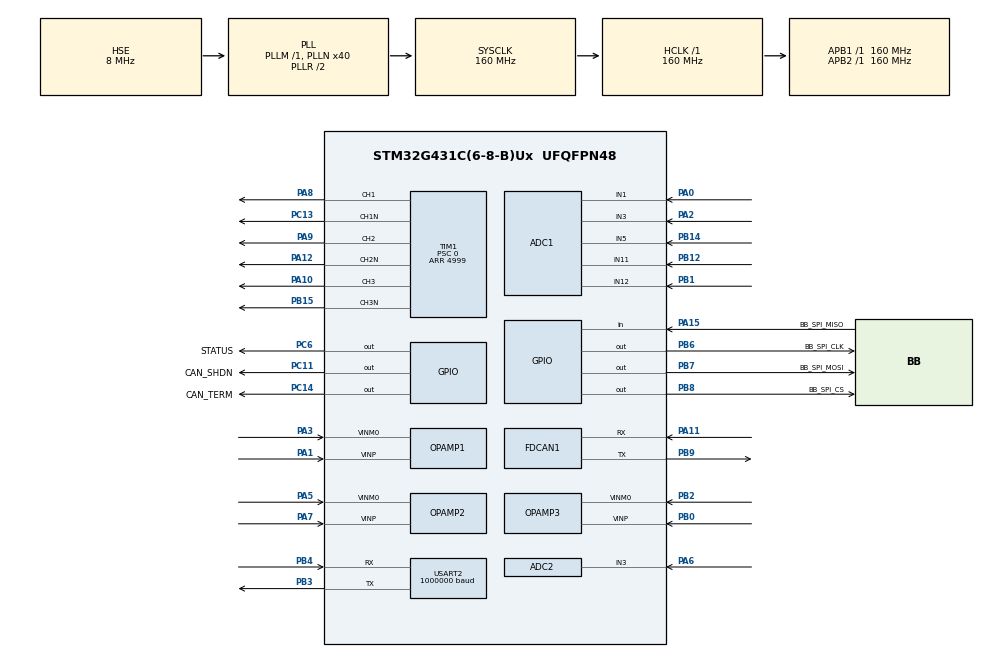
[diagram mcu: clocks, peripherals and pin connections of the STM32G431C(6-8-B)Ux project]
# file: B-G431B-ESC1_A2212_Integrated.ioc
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ADC1.Channel-0\#ChannelRegularConversion=ADC_CHANNEL_VOPAMP1
ADC1.DMAContinuousRequests=ENABLE
ADC1.EOCSelection=ADC_EOC_SEQ_CONV
ADC1.ExternalTrigConv=ADC_EXTERNALTRIG_T1_TRGO
ADC1.NbrOfConversion=1
ADC1.NbrOfConversionFlag=1
ADC1.OffsetNumber-0\#ChannelRegularConversion=ADC_OFFSET_NONE
ADC1.Overrun=ADC_OVR_DATA_OVERWRITTEN
ADC1.Rank-0\#ChannelRegularConversion=1
ADC1.SamplingTime-0\#ChannelRegularConversion=ADC_SAMPLETIME_2CYCLES_5
ADC1.master=1
ADC2.Channel-0\#ChannelRegularConversion=ADC_CHANNEL_VOPAMP2
ADC2.DMAContinuousRequests=ENABLE
ADC2.EOCSelection=ADC_EOC_SEQ_CONV
ADC2.ExternalTrigConv=ADC_EXTERNALTRIG_T1_TRGO
ADC2.NbrOfConversion=1
ADC2.NbrOfConversionFlag=1
ADC2.OffsetNumber-0\#ChannelRegularConversion=ADC_OFFSET_NONE
ADC2.Overrun=ADC_OVR_DATA_OVERWRITTEN
ADC2.Rank-0\#ChannelRegularConversion=1
ADC2.SamplingTime-0\#ChannelRegularConversion=ADC_SAMPLETIME_2CYCLES_5
Dma.ADC1.2.Direction=DMA_PERIPH_TO_MEMORY
Dma.ADC1.2.EventEnable=DISABLE
Dma.ADC1.2.Instance=DMA1_Channel3
Dma.ADC1.2.MemDataAlignment=DMA_MDATAALIGN_HALFWORD
Dma.ADC1.2.MemInc=DMA_MINC_ENABLE
Dma.ADC1.2.Mode=DMA_CIRCULAR
Dma.ADC1.2.PeriphDataAlignment=DMA_PDATAALIGN_HALFWORD
Dma.ADC1.2.PeriphInc=DMA_PINC_DISABLE
Dma.ADC1.2.Polarity=HAL_DMAMUX_REQ_GEN_RISING
Dma.ADC1.2.Priority=DMA_PRIORITY_LOW
Dma.ADC1.2.RequestNumber=1
Dma.ADC1.2.SignalID=NONE
Dma.ADC1.2.SyncEnable=DISABLE
Dma.ADC1.2.SyncPolarity=HAL_DMAMUX_SYNC_NO_EVENT
Dma.ADC1.2.SyncRequestNumber=1
Dma.ADC1.2.SyncSignalID=NONE
Dma.ADC2.3.Direction=DMA_PERIPH_TO_MEMORY
Dma.ADC2.3.EventEnable=DISABLE
Dma.ADC2.3.Instance=DMA1_Channel4
Dma.ADC2.3.MemDataAlignment=DMA_MDATAALIGN_HALFWORD
Dma.ADC2.3.MemInc=DMA_MINC_ENABLE
Dma.ADC2.3.Mode=DMA_CIRCULAR
Dma.ADC2.3.PeriphDataAlignment=DMA_PDATAALIGN_HALFWORD
Dma.ADC2.3.PeriphInc=DMA_PINC_DISABLE
Dma.ADC2.3.Polarity=HAL_DMAMUX_REQ_GEN_RISING
Dma.ADC2.3.Priority=DMA_PRIORITY_LOW
Dma.ADC2.3.RequestNumber=1
Dma.ADC2.3.SignalID=NONE
Dma.ADC2.3.SyncEnable=DISABLE
Dma.ADC2.3.SyncPolarity=HAL_DMAMUX_SYNC_NO_EVENT
Dma.ADC2.3.SyncRequestNumber=1
Dma.ADC2.3.SyncSignalID=NONE
Dma.Request0=USART2_RX
Dma.Request1=USART2_TX
Dma.Request2=ADC1
Dma.Request3=ADC2
Dma.USART2_RX.0.Direction=DMA_PERIPH_TO_MEMORY
Dma.USART2_RX.0.EventEnable=DISABLE
Dma.USART2_RX.0.Instance=DMA1_Channel1
Dma.USART2_RX.0.MemDataAlignment=DMA_MDATAALIGN_BYTE
Dma.USART2_RX.0.MemInc=DMA_MINC_ENABLE
Dma.USART2_RX.0.Mode=DMA_CIRCULAR
Dma.USART2_RX.0.PeriphDataAlignment=DMA_PDATAALIGN_BYTE
Dma.USART2_RX.0.PeriphInc=DMA_PINC_DISABLE
Dma.USART2_RX.0.Polarity=HAL_DMAMUX_REQ_GEN_RISING
Dma.USART2_RX.0.Priority=DMA_PRIORITY_LOW
Dma.USART2_RX.0.RequestNumber=1
Dma.USART2_RX.0.SignalID=NONE
Dma.USART2_RX.0.SyncEnable=DISABLE
Dma.USART2_RX.0.SyncPolarity=HAL_DMAMUX_SYNC_NO_EVENT
Dma.USART2_RX.0.SyncRequestNumber=1
Dma.USART2_RX.0.SyncSignalID=NONE
Dma.USART2_TX.1.Direction=DMA_MEMORY_TO_PERIPH
Dma.USART2_TX.1.EventEnable=DISABLE
Dma.USART2_TX.1.Instance=DMA1_Channel2
Dma.USART2_TX.1.MemDataAlignment=DMA_MDATAALIGN_BYTE
Dma.USART2_TX.1.MemInc=DMA_MINC_ENABLE
Dma.USART2_TX.1.Mode=DMA_NORMAL
Dma.USART2_TX.1.PeriphDataAlignment=DMA_PDATAALIGN_BYTE
Dma.USART2_TX.1.PeriphInc=DMA_PINC_DISABLE
Dma.USART2_TX.1.Polarity=HAL_DMAMUX_REQ_GEN_RISING
Dma.USART2_TX.1.Priority=DMA_PRIORITY_LOW
Dma.USART2_TX.1.RequestNumber=1
Dma.USART2_TX.1.SignalID=NONE
Dma.USART2_TX.1.SyncEnable=DISABLE
Dma.USART2_TX.1.SyncPolarity=HAL_DMAMUX_SYNC_NO_EVENT
Dma.USART2_TX.1.SyncRequestNumber=1
Dma.USART2_TX.1.SyncSignalID=NONE
FDCAN1.AutoRetransmission=ENABLE
FDCAN1.CalculateBaudRateNominal=1000000
FDCAN1.CalculateTimeBitNominal=1000
FDCAN1.CalculateTimeQuantumNominal=62.5
FDCAN1.ClockDivider=FDCAN_CLOCK_DIV1
FDCAN1.DataPrescaler=10
FDCAN1.DataSyncJumpWidth=1
FDCAN1.DataTimeSeg1=11
FDCAN1.DataTimeSeg2=4
FDCAN1.NominalPrescaler=10
FDCAN1.NominalSyncJumpWidth=16
FDCAN1.NominalTimeSeg1=11
FDCAN1.NominalTimeSeg2=4
FDCAN1.StdFiltersNbr=1
FDCAN1.TransmitPause=ENABLE
Mcu.Family=STM32G4
Mcu.Name=STM32G431C(6-8-B)Ux
Mcu.Package=UFQFPN48
NVIC.ADC1_2_IRQn=true\:0\:0\:false\:false\:true\:true\:true\:true
NVIC.CORDIC_IRQn=true\:0\:0\:false\:false\:true\:true\:true\:true
NVIC.DMA1_Channel1_IRQn=true\:0\:0\:false\:false\:true\:false\:true\:true
NVIC.DMA1_Channel2_IRQn=true\:0\:0\:false\:false\:true\:false\:true\:true
NVIC.DMA1_Channel3_IRQn=true\:0\:0\:false\:false\:true\:false\:true\:true
NVIC.DMA1_Channel4_IRQn=true\:0\:0\:false\:false\:true\:false\:true\:true
NVIC.FDCAN1_IT0_IRQn=true\:0\:0\:false\:false\:true\:true\:true\:true
NVIC.PriorityGroup=NVIC_PRIORITYGROUP_4
NVIC.TIM1_UP_TIM16_IRQn=true\:0\:0\:false\:false\:true\:true\:true\:true
NVIC.USART2_IRQn=true\:0\:0\:false\:false\:true\:true\:true\:true
OPAMP1.PgaGain=OPAMP_PGA_GAIN_16_OR_MINUS_15
OPAMP2.PgaGain=OPAMP_PGA_GAIN_16_OR_MINUS_15
OPAMP3.PgaGain=OPAMP_PGA_GAIN_16_OR_MINUS_15
PA0.Mode=IN1-Single-Ended
PA0.Signal=ADC1_IN1
PA1.Mode=PGA Internally connected_IO0_BIAS
PA1.Signal=OPAMP1_VINP
PA10.Signal=S_TIM1_CH3
PA11.Mode=FDCAN_Activate
PA11.Signal=FDCAN1_RX
PA12.Mode=PWM Generation2 CH2 CH2N
PA12.Signal=TIM1_CH2N
PA13.Mode=Serial_Wire
PA13.Signal=SYS_JTMS-SWDIO
PA14.Mode=Serial_Wire
PA14.Signal=SYS_JTCK-SWCLK
PA15.GPIO_Label=BB_SPI_MISO
PA15.Signal=GPIO_Input
PA2.Mode=IN3-Single-Ended
PA2.Signal=ADC1_IN3
PA3.Mode=PGA Internally connected_IO0_BIAS
PA3.Signal=OPAMP1_VINM0
PA5.Mode=PGA Internally connected_IO0_BIAS
PA5.Signal=OPAMP2_VINM0
PA6.Mode=IN3-Single-Ended
PA6.Signal=ADC2_IN3
PA7.Mode=PGA Internally connected_IO0_BIAS
PA7.Signal=OPAMP2_VINP
PA8.Signal=S_TIM1_CH1
PA9.Signal=S_TIM1_CH2
PB0.Mode=PGA Internally connected_IO0_BIAS
PB0.Signal=OPAMP3_VINP
PB1.Mode=IN12-Single-Ended
PB1.Signal=ADC1_IN12
PB12.Mode=IN11-Single-Ended
PB12.Signal=ADC1_IN11
PB14.Mode=IN5-Single-Ended
PB14.Signal=ADC1_IN5
PB15.Mode=PWM Generation3 CH3 CH3N
PB15.Signal=TIM1_CH3N
PB2.Mode=PGA Internally connected_IO0_BIAS
PB2.Signal=OPAMP3_VINM0
PB3.Mode=Asynchronous
PB3.Signal=USART2_TX
PB4.Mode=Asynchronous
PB4.Signal=USART2_RX
PB6.GPIO_FM6=SYSCFG_FASTMODEPLUS_PB6
PB6.GPIO_Label=BB_SPI_CLK
PB6.GPIO_Speed=GPIO_SPEED_FREQ_VERY_HIGH
PB6.PinState=GPIO_PIN_RESET
PB6.Signal=GPIO_Output
PB7.GPIO_Label=BB_SPI_MOSI
PB7.GPIO_Speed=GPIO_SPEED_FREQ_MEDIUM
PB7.PinState=GPIO_PIN_SET
PB7.Signal=GPIO_Output
PB8-BOOT0.GPIO_FM8=SYSCFG_FASTMODEPLUS_PB8
PB8-BOOT0.GPIO_Label=BB_SPI_CS
PB8-BOOT0.GPIO_Speed=GPIO_SPEED_FREQ_VERY_HIGH
PB8-BOOT0.PinState=GPIO_PIN_SET
PB8-BOOT0.Signal=GPIO_Output
PB9.Mode=FDCAN_Activate
PB9.Signal=FDCAN1_TX
PC11.GPIO_Label=CAN_SHDN
PC11.Signal=GPIO_Output
PC13.Mode=PWM Generation1 CH1 CH1N
PC13.Signal=TIM1_CH1N
PC14-OSC32_IN.GPIO_Label=CAN_TERM
PC14-OSC32_IN.Signal=GPIO_Output
PC6.GPIO_Label=STATUS
PC6.Signal=GPIO_Output
PF0-OSC_IN.Mode=HSE-External-Oscillator
PF0-OSC_IN.Signal=RCC_OSC_IN
PF1-OSC_OUT.Mode=HSE-External-Oscillator
PF1-OSC_OUT.Signal=RCC_OSC_OUT
ProjectManager.HeapSize=0x200
ProjectManager.StackSize=0x400
ProjectManager.TargetToolchain=STM32CubeIDE
RCC.ADC12Freq_Value=160000000
RCC.AHBFreq_Value=160000000
RCC.APB1Freq_Value=160000000
RCC.APB1TimFreq_Value=160000000
RCC.APB2Freq_Value=160000000
RCC.APB2TimFreq_Value=160000000
RCC.CortexFreq_Value=160000000
RCC.EXTERNAL_CLOCK_VALUE=12288000
RCC.HCLKFreq_Value=160000000
RCC.HSE_VALUE=8000000
RCC.HSI48_VALUE=48000000
RCC.HSI_VALUE=16000000
RCC.LSE_VALUE=32768
RCC.PLLN=40
RCC.PLLSourceVirtual=RCC_PLLSOURCE_HSE
RCC.SYSCLKFreq_VALUE=160000000
RCC.SYSCLKSource=RCC_SYSCLKSOURCE_PLLCLK
RCC.USBFreq_Value=160000000
RCC.VCOOutputFreq_Value=320000000
SH.S_TIM1_CH1.0=TIM1_CH1,PWM Generation1 CH1 CH1N
SH.S_TIM1_CH2.0=TIM1_CH2,PWM Generation2 CH2 CH2N
SH.S_TIM1_CH3.0=TIM1_CH3,PWM Generation3 CH3 CH3N
TIM1.Channel-PWM\ Generation1\ CH1\ CH1N=TIM_CHANNEL_1
TIM1.Channel-PWM\ Generation2\ CH2\ CH2N=TIM_CHANNEL_2
TIM1.Channel-PWM\ Generation3\ CH3\ CH3N=TIM_CHANNEL_3
TIM1.CounterMode=TIM_COUNTERMODE_CENTERALIGNED1
TIM1.DeadTime=128
TIM1.PeriodNoDither=4999
TIM1.Prescaler=0
TIM1.TIM_MasterOutputTrigger=TIM_TRGO_UPDATE
TIM16.PeriodNoDither=15999
TIM6.Prescaler=159
USART2.BaudRate=1000000
USART2.VirtualMode-Asynchronous=VM_ASYNC
VP_ADC1_OPAMP_INTERNAL1.Mode=IN-OPAMP1
VP_ADC2_OPAMP_INTERNAL2.Mode=IN-OPAMP2
VP_ADC2_OPAMP_INTERNAL3.Mode=IN-OPAMP3
VP_CORDIC_VS_CORDIC.Mode=CORDIC_Activate
VP_SYS_VS_DBSignals.Mode=DisableDeadBatterySignals
VP_TIM16_VS_ClockSourceINT.Mode=Enable_Timer
VP_TIM1_VS_ClockSourceINT.Mode=Internal
VP_TIM6_VS_ClockSourceINT.Mode=Enable_Timer
board=custom

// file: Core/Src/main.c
/* USER CODE BEGIN Header */
/**
  ******************************************************************************
  * @file           : main.c
  * @brief          : Main program body
  ******************************************************************************
  * @attention
  *
  * Copyright (c) 2025 STMicroelectronics.
  * All rights reserved.
  *
  * This software is licensed under terms that can be found in the LICENSE file
  * in the root directory of this software component.
  * If no LICENSE file comes with this software, it is provided AS-IS.
  *
  ******************************************************************************
  */
/* USER CODE END Header */
#include "main.h"

/* USER CODE BEGIN Includes */
#include "stdio.h"
#include "math.h"

#include "foc_core.h"
#include "foc_hw.h"
/* USER CODE END Includes */

/* USER CODE BEGIN PTD */

/* USER CODE END PD */

ADC_HandleTypeDef hadc1;
ADC_HandleTypeDef hadc2;
DMA_HandleTypeDef hdma_adc1;
DMA_HandleTypeDef hdma_adc2;

CORDIC_HandleTypeDef hcordic;

FDCAN_HandleTypeDef hfdcan1;

OPAMP_HandleTypeDef hopamp1;
OPAMP_HandleTypeDef hopamp2;
OPAMP_HandleTypeDef hopamp3;

TIM_HandleTypeDef htim1;
TIM_HandleTypeDef htim6;
TIM_HandleTypeDef htim16;

UART_HandleTypeDef huart2;
DMA_HandleTypeDef hdma_usart2_rx;
DMA_HandleTypeDef hdma_usart2_tx;

/* USER CODE BEGIN PV */
static uint32_t last_print_time = 0;
static uint16_t prev_timer_cnt = 0;

void SystemClock_Config(void);
static void MX_GPIO_Init(void);
static void MX_DMA_Init(void);
static void MX_USART2_UART_Init(void);
static void MX_TIM1_Init(void);
static void MX_ADC1_Init(void);
static void MX_ADC2_Init(void);
static void MX_OPAMP1_Init(void);
static void MX_OPAMP2_Init(void);
static void MX_OPAMP3_Init(void);
static void MX_CORDIC_Init(void);
static void MX_TIM6_Init(void);
static void MX_FDCAN1_Init(void);
static void MX_TIM16_Init(void);
/* USER CODE BEGIN PFP */
void UART_Plot_data (float d1, float d2, float d3, float d4);
/* USER CODE END PFP */

/* USER CODE BEGIN 0 */
void HAL_ADC_ConvCpltCallback(ADC_HandleTypeDef* hadc)
{
    static uint8_t foc_cnt = 0;

    if (hadc->Instance == ADC1) {
        if (is_foc_enabled == 0) return;

        foc_cnt++;
        if (foc_cnt < 2) { //callback frequency
            return;
        }
        foc_cnt = 0;

        // 1. Calculate dt
        uint16_t current_timer_cnt = TIM6->CNT;
        uint16_t dt_us = current_timer_cnt - prev_timer_cnt;
        prev_timer_cnt = current_timer_cnt;

        float dt = (float)dt_us * 0.000001f;
        if (dt < 0.000001f) dt = 0.0001f;

        // 2. HW Reading
        HW_Read_Currents(&foc_state.i_a, &foc_state.i_b, &foc_state.i_c);

        HW_Update_Encoder_BB();
        foc_state.theta_mech = angle_raw * ENC_TO_RAD;

        // 3. Angle Update
        float theta = foc_state.theta_mech * (float)motor_params.pole_pairs - foc_state.theta_offset;

        theta = fmodf(theta, _2PI);
        if (theta < 0) theta += _2PI;
        foc_state.theta_elec = theta;

        FOC_Update_Total_Angle();

        // 4. FOC
        FOC_Current_Control_Loop(dt);
        FOC_Cascade_Control_Loop(dt);

        // 5. HW PWM
        HW_Write_PWM(foc_state.duty_a, foc_state.duty_b, foc_state.duty_c);
    }
}

void UART_Plot_data (float d1, float d2, float d3, float d4) {
	char buf[64];
	int len = sprintf(buf, "%.3f %.3f %.3f %.3f\n", d1, d2, d3, d4);
	HAL_UART_Transmit(&huart2, (uint8_t*)buf, len, 10);
}
/* USER CODE END 0 */

int main(void)
{

  /* MCU Configuration--------------------------------------------------------*/

  /* Reset of all peripherals, Initializes the Flash interface and the Systick. */
  HAL_Init();

  /* Configure the system clock */
  SystemClock_Config();

  /* Initialize all configured peripherals */
  MX_GPIO_Init();
  MX_DMA_Init();
  MX_USART2_UART_Init();
  MX_TIM1_Init();
  MX_ADC1_Init();
  MX_ADC2_Init();
  MX_OPAMP1_Init();
  MX_OPAMP2_Init();
  MX_OPAMP3_Init();
  MX_CORDIC_Init();
  MX_TIM6_Init();
  MX_FDCAN1_Init();
  MX_TIM16_Init();
  /* USER CODE BEGIN 2 */
  FOC_Core_Init();
  HW_FOC_Init();

  HAL_TIM_Base_Start(&htim6);

  HW_Calibrate_Current_Offset();
  HW_Align_Encoder();

  FOC_Change_Mode(MODE_VELOCITY);
  foc_state.target_velocity = 0.0f;

  is_foc_enabled = 1;
  /* USER CODE END 2 */

  /* Infinite loop */
  /* USER CODE BEGIN WHILE */
  while (1)
  {

	  if (HAL_GetTick() - last_print_time >= 10) {
		  last_print_time = HAL_GetTick();
		  UART_Plot_data(foc_state.i_d, foc_state.i_q, foc_state.theta_elec, foc_state.velocity_filtered);
	  }
  }
    /* USER CODE END WHILE */

}

void SystemClock_Config(void)
{
  RCC_OscInitTypeDef RCC_OscInitStruct = {0};
  RCC_ClkInitTypeDef RCC_ClkInitStruct = {0};

  /** Configure the main internal regulator output voltage
  */
  HAL_PWREx_ControlVoltageScaling(PWR_REGULATOR_VOLTAGE_SCALE1_BOOST);

  /** Initializes the RCC Oscillators according to the specified parameters
  * in the RCC_OscInitTypeDef structure.
  */
  RCC_OscInitStruct.OscillatorType = RCC_OSCILLATORTYPE_HSE;
  RCC_OscInitStruct.HSEState = RCC_HSE_ON;
  RCC_OscInitStruct.PLL.PLLState = RCC_PLL_ON;
  RCC_OscInitStruct.PLL.PLLSource = RCC_PLLSOURCE_HSE;
  RCC_OscInitStruct.PLL.PLLM = RCC_PLLM_DIV1;
  RCC_OscInitStruct.PLL.PLLN = 40;
  RCC_OscInitStruct.PLL.PLLP = RCC_PLLP_DIV2;
  RCC_OscInitStruct.PLL.PLLQ = RCC_PLLQ_DIV2;
  RCC_OscInitStruct.PLL.PLLR = RCC_PLLR_DIV2;
  if (HAL_RCC_OscConfig(&RCC_OscInitStruct) != HAL_OK)
  {
    Error_Handler();
  }

  /** Initializes the CPU, AHB and APB buses clocks
  */
  RCC_ClkInitStruct.ClockType = RCC_CLOCKTYPE_HCLK|RCC_CLOCKTYPE_SYSCLK
                              |RCC_CLOCKTYPE_PCLK1|RCC_CLOCKTYPE_PCLK2;
  RCC_ClkInitStruct.SYSCLKSource = RCC_SYSCLKSOURCE_PLLCLK;
  RCC_ClkInitStruct.AHBCLKDivider = RCC_SYSCLK_DIV1;
  RCC_ClkInitStruct.APB1CLKDivider = RCC_HCLK_DIV1;
  RCC_ClkInitStruct.APB2CLKDivider = RCC_HCLK_DIV1;

  if (HAL_RCC_ClockConfig(&RCC_ClkInitStruct, FLASH_LATENCY_4) != HAL_OK)
  {
    Error_Handler();
  }
}

static void MX_ADC1_Init(void)
{

  ADC_MultiModeTypeDef multimode = {0};
  ADC_ChannelConfTypeDef sConfig = {0};

  /** Common config
  */
  hadc1.Instance = ADC1;
  hadc1.Init.ClockPrescaler = ADC_CLOCK_SYNC_PCLK_DIV4;
  hadc1.Init.Resolution = ADC_RESOLUTION_12B;
  hadc1.Init.DataAlign = ADC_DATAALIGN_RIGHT;
  hadc1.Init.GainCompensation = 0;
  hadc1.Init.ScanConvMode = ADC_SCAN_DISABLE;
  hadc1.Init.EOCSelection = ADC_EOC_SEQ_CONV;
  hadc1.Init.LowPowerAutoWait = DISABLE;
  hadc1.Init.ContinuousConvMode = DISABLE;
  hadc1.Init.NbrOfConversion = 1;
  hadc1.Init.DiscontinuousConvMode = DISABLE;
  hadc1.Init.ExternalTrigConv = ADC_EXTERNALTRIG_T1_TRGO;
  hadc1.Init.ExternalTrigConvEdge = ADC_EXTERNALTRIGCONVEDGE_RISING;
  hadc1.Init.DMAContinuousRequests = ENABLE;
  hadc1.Init.Overrun = ADC_OVR_DATA_OVERWRITTEN;
  hadc1.Init.OversamplingMode = DISABLE;
  if (HAL_ADC_Init(&hadc1) != HAL_OK)
  {
    Error_Handler();
  }

  /** Configure the ADC multi-mode
  */
  multimode.Mode = ADC_MODE_INDEPENDENT;
  if (HAL_ADCEx_MultiModeConfigChannel(&hadc1, &multimode) != HAL_OK)
  {
    Error_Handler();
  }

  /** Configure Regular Channel
  */
  sConfig.Channel = ADC_CHANNEL_VOPAMP1;
  sConfig.Rank = ADC_REGULAR_RANK_1;
  sConfig.SamplingTime = ADC_SAMPLETIME_2CYCLES_5;
  sConfig.SingleDiff = ADC_SINGLE_ENDED;
  sConfig.OffsetNumber = ADC_OFFSET_NONE;
  sConfig.Offset = 0;
  if (HAL_ADC_ConfigChannel(&hadc1, &sConfig) != HAL_OK)
  {
    Error_Handler();
  }

}

static void MX_ADC2_Init(void)
{

  ADC_ChannelConfTypeDef sConfig = {0};

  /** Common config
  */
  hadc2.Instance = ADC2;
  hadc2.Init.ClockPrescaler = ADC_CLOCK_SYNC_PCLK_DIV4;
  hadc2.Init.Resolution = ADC_RESOLUTION_12B;
  hadc2.Init.DataAlign = ADC_DATAALIGN_RIGHT;
  hadc2.Init.GainCompensation = 0;
  hadc2.Init.ScanConvMode = ADC_SCAN_DISABLE;
  hadc2.Init.EOCSelection = ADC_EOC_SEQ_CONV;
  hadc2.Init.LowPowerAutoWait = DISABLE;
  hadc2.Init.ContinuousConvMode = DISABLE;
  hadc2.Init.NbrOfConversion = 1;
  hadc2.Init.DiscontinuousConvMode = DISABLE;
  hadc2.Init.ExternalTrigConv = ADC_EXTERNALTRIG_T1_TRGO;
  hadc2.Init.ExternalTrigConvEdge = ADC_EXTERNALTRIGCONVEDGE_RISING;
  hadc2.Init.DMAContinuousRequests = ENABLE;
  hadc2.Init.Overrun = ADC_OVR_DATA_OVERWRITTEN;
  hadc2.Init.OversamplingMode = DISABLE;
  if (HAL_ADC_Init(&hadc2) != HAL_OK)
  {
    Error_Handler();
  }

  /** Configure Regular Channel
  */
  sConfig.Channel = ADC_CHANNEL_VOPAMP2;
  sConfig.Rank = ADC_REGULAR_RANK_1;
  sConfig.SamplingTime = ADC_SAMPLETIME_2CYCLES_5;
  sConfig.SingleDiff = ADC_SINGLE_ENDED;
  sConfig.OffsetNumber = ADC_OFFSET_NONE;
  sConfig.Offset = 0;
  if (HAL_ADC_ConfigChannel(&hadc2, &sConfig) != HAL_OK)
  {
    Error_Handler();
  }

}

static void MX_CORDIC_Init(void)
{

  hcordic.Instance = CORDIC;
  if (HAL_CORDIC_Init(&hcordic) != HAL_OK)
  {
    Error_Handler();
  }

}

static void MX_FDCAN1_Init(void)
{

  hfdcan1.Instance = FDCAN1;
  hfdcan1.Init.ClockDivider = FDCAN_CLOCK_DIV1;
  hfdcan1.Init.FrameFormat = FDCAN_FRAME_CLASSIC;
  hfdcan1.Init.Mode = FDCAN_MODE_NORMAL;
  hfdcan1.Init.AutoRetransmission = ENABLE;
  hfdcan1.Init.TransmitPause = ENABLE;
  hfdcan1.Init.ProtocolException = DISABLE;
  hfdcan1.Init.NominalPrescaler = 10;
  hfdcan1.Init.NominalSyncJumpWidth = 16;
  hfdcan1.Init.NominalTimeSeg1 = 11;
  hfdcan1.Init.NominalTimeSeg2 = 4;
  hfdcan1.Init.DataPrescaler = 10;
  hfdcan1.Init.DataSyncJumpWidth = 1;
  hfdcan1.Init.DataTimeSeg1 = 11;
  hfdcan1.Init.DataTimeSeg2 = 4;
  hfdcan1.Init.StdFiltersNbr = 1;
  hfdcan1.Init.ExtFiltersNbr = 0;
  hfdcan1.Init.TxFifoQueueMode = FDCAN_TX_FIFO_OPERATION;
  if (HAL_FDCAN_Init(&hfdcan1) != HAL_OK)
  {
    Error_Handler();
  }

}

static void MX_OPAMP1_Init(void)
{

  hopamp1.Instance = OPAMP1;
  hopamp1.Init.PowerMode = OPAMP_POWERMODE_NORMALSPEED;
  hopamp1.Init.Mode = OPAMP_PGA_MODE;
  hopamp1.Init.NonInvertingInput = OPAMP_NONINVERTINGINPUT_IO0;
  hopamp1.Init.InternalOutput = ENABLE;
  hopamp1.Init.TimerControlledMuxmode = OPAMP_TIMERCONTROLLEDMUXMODE_DISABLE;
  hopamp1.Init.PgaConnect = OPAMP_PGA_CONNECT_INVERTINGINPUT_IO0_BIAS;
  hopamp1.Init.PgaGain = OPAMP_PGA_GAIN_16_OR_MINUS_15;
  hopamp1.Init.UserTrimming = OPAMP_TRIMMING_FACTORY;
  if (HAL_OPAMP_Init(&hopamp1) != HAL_OK)
  {
    Error_Handler();
  }

}

static void MX_OPAMP2_Init(void)
{

  hopamp2.Instance = OPAMP2;
  hopamp2.Init.PowerMode = OPAMP_POWERMODE_NORMALSPEED;
  hopamp2.Init.Mode = OPAMP_PGA_MODE;
  hopamp2.Init.NonInvertingInput = OPAMP_NONINVERTINGINPUT_IO0;
  hopamp2.Init.InternalOutput = ENABLE;
  hopamp2.Init.TimerControlledMuxmode = OPAMP_TIMERCONTROLLEDMUXMODE_DISABLE;
  hopamp2.Init.PgaConnect = OPAMP_PGA_CONNECT_INVERTINGINPUT_IO0_BIAS;
  hopamp2.Init.PgaGain = OPAMP_PGA_GAIN_16_OR_MINUS_15;
  hopamp2.Init.UserTrimming = OPAMP_TRIMMING_FACTORY;
  if (HAL_OPAMP_Init(&hopamp2) != HAL_OK)
  {
    Error_Handler();
  }

}

static void MX_OPAMP3_Init(void)
{

  hopamp3.Instance = OPAMP3;
  hopamp3.Init.PowerMode = OPAMP_POWERMODE_NORMALSPEED;
  hopamp3.Init.Mode = OPAMP_PGA_MODE;
  hopamp3.Init.NonInvertingInput = OPAMP_NONINVERTINGINPUT_IO0;
  hopamp3.Init.InternalOutput = ENABLE;
  hopamp3.Init.TimerControlledMuxmode = OPAMP_TIMERCONTROLLEDMUXMODE_DISABLE;
  hopamp3.Init.PgaConnect = OPAMP_PGA_CONNECT_INVERTINGINPUT_IO0_BIAS;
  hopamp3.Init.PgaGain = OPAMP_PGA_GAIN_16_OR_MINUS_15;
  hopamp3.Init.UserTrimming = OPAMP_TRIMMING_FACTORY;
  if (HAL_OPAMP_Init(&hopamp3) != HAL_OK)
  {
    Error_Handler();
  }

}

static void MX_TIM1_Init(void)
{

  TIM_ClockConfigTypeDef sClockSourceConfig = {0};
  TIM_MasterConfigTypeDef sMasterConfig = {0};
  TIM_OC_InitTypeDef sConfigOC = {0};
  TIM_BreakDeadTimeConfigTypeDef sBreakDeadTimeConfig = {0};

  htim1.Instance = TIM1;
  htim1.Init.Prescaler = 0;
  htim1.Init.CounterMode = TIM_COUNTERMODE_CENTERALIGNED1;
  htim1.Init.Period = 4999;
  htim1.Init.ClockDivision = TIM_CLOCKDIVISION_DIV1;
  htim1.Init.RepetitionCounter =0;
  htim1.Init.AutoReloadPreload = TIM_AUTORELOAD_PRELOAD_DISABLE;
  if (HAL_TIM_Base_Init(&htim1) != HAL_OK)
  {
    Error_Handler();
  }
  sClockSourceConfig.ClockSource = TIM_CLOCKSOURCE_INTERNAL;
  if (HAL_TIM_ConfigClockSource(&htim1, &sClockSourceConfig) != HAL_OK)
  {
    Error_Handler();
  }
  if (HAL_TIM_PWM_Init(&htim1) != HAL_OK)
  {
    Error_Handler();
  }
  sMasterConfig.MasterOutputTrigger = TIM_TRGO_UPDATE;
  sMasterConfig.MasterOutputTrigger2 = TIM_TRGO2_RESET;
  sMasterConfig.MasterSlaveMode = TIM_MASTERSLAVEMODE_DISABLE;
  if (HAL_TIMEx_MasterConfigSynchronization(&htim1, &sMasterConfig) != HAL_OK)
  {
    Error_Handler();
  }
  sConfigOC.OCMode = TIM_OCMODE_PWM1;
  sConfigOC.Pulse = 0;
  sConfigOC.OCPolarity = TIM_OCPOLARITY_HIGH;
  sConfigOC.OCNPolarity = TIM_OCNPOLARITY_HIGH;
  sConfigOC.OCFastMode = TIM_OCFAST_DISABLE;
  sConfigOC.OCIdleState = TIM_OCIDLESTATE_RESET;
  sConfigOC.OCNIdleState = TIM_OCNIDLESTATE_RESET;
  if (HAL_TIM_PWM_ConfigChannel(&htim1, &sConfigOC, TIM_CHANNEL_1) != HAL_OK)
  {
    Error_Handler();
  }
  if (HAL_TIM_PWM_ConfigChannel(&htim1, &sConfigOC, TIM_CHANNEL_2) != HAL_OK)
  {
    Error_Handler();
  }
  if (HAL_TIM_PWM_ConfigChannel(&htim1, &sConfigOC, TIM_CHANNEL_3) != HAL_OK)
  {
    Error_Handler();
  }
  sBreakDeadTimeConfig.OffStateRunMode = TIM_OSSR_DISABLE;
  sBreakDeadTimeConfig.OffStateIDLEMode = TIM_OSSI_DISABLE;
  sBreakDeadTimeConfig.LockLevel = TIM_LOCKLEVEL_OFF;
  sBreakDeadTimeConfig.DeadTime = 128;
  sBreakDeadTimeConfig.BreakState = TIM_BREAK_DISABLE;
  sBreakDeadTimeConfig.BreakPolarity = TIM_BREAKPOLARITY_HIGH;
  sBreakDeadTimeConfig.BreakFilter = 0;
  sBreakDeadTimeConfig.BreakAFMode = TIM_BREAK_AFMODE_INPUT;
  sBreakDeadTimeConfig.Break2State = TIM_BREAK2_DISABLE;
  sBreakDeadTimeConfig.Break2Polarity = TIM_BREAK2POLARITY_HIGH;
  sBreakDeadTimeConfig.Break2Filter = 0;
  sBreakDeadTimeConfig.Break2AFMode = TIM_BREAK_AFMODE_INPUT;
  sBreakDeadTimeConfig.AutomaticOutput = TIM_AUTOMATICOUTPUT_DISABLE;
  if (HAL_TIMEx_ConfigBreakDeadTime(&htim1, &sBreakDeadTimeConfig) != HAL_OK)
  {
    Error_Handler();
  }
  HAL_TIM_MspPostInit(&htim1);

}

static void MX_TIM6_Init(void)
{

  TIM_MasterConfigTypeDef sMasterConfig = {0};

  htim6.Instance = TIM6;
  htim6.Init.Prescaler = 159;
  htim6.Init.CounterMode = TIM_COUNTERMODE_UP;
  htim6.Init.Period = 65535;
  htim6.Init.AutoReloadPreload = TIM_AUTORELOAD_PRELOAD_DISABLE;
  if (HAL_TIM_Base_Init(&htim6) != HAL_OK)
  {
    Error_Handler();
  }
  sMasterConfig.MasterOutputTrigger = TIM_TRGO_RESET;
  sMasterConfig.MasterSlaveMode = TIM_MASTERSLAVEMODE_DISABLE;
  if (HAL_TIMEx_MasterConfigSynchronization(&htim6, &sMasterConfig) != HAL_OK)
  {
    Error_Handler();
  }

}

static void MX_TIM16_Init(void)
{

  htim16.Instance = TIM16;
  htim16.Init.Prescaler = 0;
  htim16.Init.CounterMode = TIM_COUNTERMODE_UP;
  htim16.Init.Period = 15999;
  htim16.Init.ClockDivision = TIM_CLOCKDIVISION_DIV1;
  htim16.Init.RepetitionCounter = 0;
  htim16.Init.AutoReloadPreload = TIM_AUTORELOAD_PRELOAD_DISABLE;
  if (HAL_TIM_Base_Init(&htim16) != HAL_OK)
  {
    Error_Handler();
  }

}

static void MX_USART2_UART_Init(void)
{

  huart2.Instance = USART2;
  huart2.Init.BaudRate = 1000000;
  huart2.Init.WordLength = UART_WORDLENGTH_8B;
  huart2.Init.StopBits = UART_STOPBITS_1;
  huart2.Init.Parity = UART_PARITY_NONE;
  huart2.Init.Mode = UART_MODE_TX_RX;
  huart2.Init.HwFlowCtl = UART_HWCONTROL_NONE;
  huart2.Init.OverSampling = UART_OVERSAMPLING_16;
  huart2.Init.OneBitSampling = UART_ONE_BIT_SAMPLE_DISABLE;
  huart2.Init.ClockPrescaler = UART_PRESCALER_DIV1;
  huart2.AdvancedInit.AdvFeatureInit = UART_ADVFEATURE_NO_INIT;
  if (HAL_UART_Init(&huart2) != HAL_OK)
  {
    Error_Handler();
  }
  if (HAL_UARTEx_SetTxFifoThreshold(&huart2, UART_TXFIFO_THRESHOLD_1_8) != HAL_OK)
  {
    Error_Handler();
  }
  if (HAL_UARTEx_SetRxFifoThreshold(&huart2, UART_RXFIFO_THRESHOLD_1_8) != HAL_OK)
  {
    Error_Handler();
  }
  if (HAL_UARTEx_DisableFifoMode(&huart2) != HAL_OK)
  {
    Error_Handler();
  }

}

static void MX_DMA_Init(void)
{

  /* DMA controller clock enable */
  __HAL_RCC_DMAMUX1_CLK_ENABLE();
  __HAL_RCC_DMA1_CLK_ENABLE();

  /* DMA interrupt init */
  /* DMA1_Channel1_IRQn interrupt configuration */
  HAL_NVIC_SetPriority(DMA1_Channel1_IRQn, 0, 0);
  HAL_NVIC_EnableIRQ(DMA1_Channel1_IRQn);
  /* DMA1_Channel2_IRQn interrupt configuration */
  HAL_NVIC_SetPriority(DMA1_Channel2_IRQn, 0, 0);
  HAL_NVIC_EnableIRQ(DMA1_Channel2_IRQn);
  /* DMA1_Channel3_IRQn interrupt configuration */
  HAL_NVIC_SetPriority(DMA1_Channel3_IRQn, 0, 0);
  HAL_NVIC_EnableIRQ(DMA1_Channel3_IRQn);
  /* DMA1_Channel4_IRQn interrupt configuration */
  HAL_NVIC_SetPriority(DMA1_Channel4_IRQn, 0, 0);
  HAL_NVIC_EnableIRQ(DMA1_Channel4_IRQn);

}

static void MX_GPIO_Init(void)
{
  GPIO_InitTypeDef GPIO_InitStruct = {0};

  /* GPIO Ports Clock Enable */
  __HAL_RCC_GPIOC_CLK_ENABLE();
  __HAL_RCC_GPIOF_CLK_ENABLE();
  __HAL_RCC_GPIOA_CLK_ENABLE();
  __HAL_RCC_GPIOB_CLK_ENABLE();

  /*Configure GPIO pin Output Level */
  HAL_GPIO_WritePin(GPIOC, CAN_TERM_Pin|STATUS_Pin|CAN_SHDN_Pin, GPIO_PIN_RESET);

  /*Configure GPIO pin Output Level */
  HAL_GPIO_WritePin(BB_SPI_CLK_GPIO_Port, BB_SPI_CLK_Pin, GPIO_PIN_RESET);

  /*Configure GPIO pin Output Level */
  HAL_GPIO_WritePin(GPIOB, BB_SPI_MOSI_Pin|BB_SPI_CS_Pin, GPIO_PIN_SET);

  /*Configure GPIO pins : CAN_TERM_Pin STATUS_Pin CAN_SHDN_Pin */
  GPIO_InitStruct.Pin = CAN_TERM_Pin|STATUS_Pin|CAN_SHDN_Pin;
  GPIO_InitStruct.Mode = GPIO_MODE_OUTPUT_PP;
  GPIO_InitStruct.Pull = GPIO_NOPULL;
  GPIO_InitStruct.Speed = GPIO_SPEED_FREQ_LOW;
  HAL_GPIO_Init(GPIOC, &GPIO_InitStruct);

  /*Configure GPIO pin : BB_SPI_MISO_Pin */
  GPIO_InitStruct.Pin = BB_SPI_MISO_Pin;
  GPIO_InitStruct.Mode = GPIO_MODE_INPUT;
  GPIO_InitStruct.Pull = GPIO_NOPULL;
  HAL_GPIO_Init(BB_SPI_MISO_GPIO_Port, &GPIO_InitStruct);

  /*Configure GPIO pins : BB_SPI_CLK_Pin BB_SPI_CS_Pin */
  GPIO_InitStruct.Pin = BB_SPI_CLK_Pin|BB_SPI_CS_Pin;
  GPIO_InitStruct.Mode = GPIO_MODE_OUTPUT_PP;
  GPIO_InitStruct.Pull = GPIO_NOPULL;
  GPIO_InitStruct.Speed = GPIO_SPEED_FREQ_VERY_HIGH;
  HAL_GPIO_Init(GPIOB, &GPIO_InitStruct);

  /*Configure GPIO pin : BB_SPI_MOSI_Pin */
  GPIO_InitStruct.Pin = BB_SPI_MOSI_Pin;
  GPIO_InitStruct.Mode = GPIO_MODE_OUTPUT_PP;
  GPIO_InitStruct.Pull = GPIO_NOPULL;
  GPIO_InitStruct.Speed = GPIO_SPEED_FREQ_MEDIUM;
  HAL_GPIO_Init(BB_SPI_MOSI_GPIO_Port, &GPIO_InitStruct);

  /**/
  __HAL_SYSCFG_FASTMODEPLUS_ENABLE(SYSCFG_FASTMODEPLUS_PB6);

  /**/
  __HAL_SYSCFG_FASTMODEPLUS_ENABLE(SYSCFG_FASTMODEPLUS_PB8);

}

void Error_Handler(void)
{
  __disable_irq();
  while (1)
  {
  }
}
